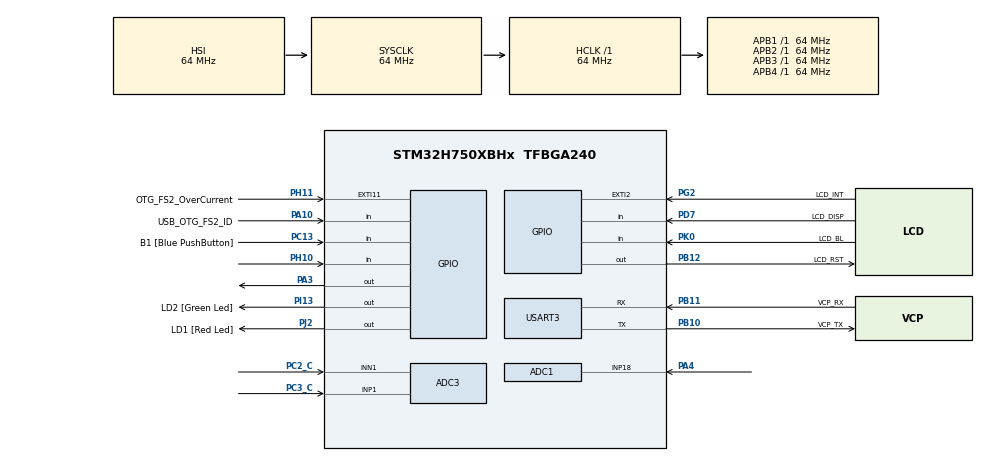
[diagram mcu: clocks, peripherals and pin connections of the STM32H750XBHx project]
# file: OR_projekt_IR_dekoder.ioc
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ADC1.Channel-0\#ChannelRegularConversion=ADC_CHANNEL_18
ADC1.NbrOfConversionFlag=1
ADC1.OffsetNumber-0\#ChannelRegularConversion=ADC_OFFSET_NONE
ADC1.OffsetSignedSaturation-0\#ChannelRegularConversion=DISABLE
ADC1.Rank-0\#ChannelRegularConversion=1
ADC1.SamplingTime-0\#ChannelRegularConversion=ADC_SAMPLETIME_1CYCLE_5
ADC1.master=1
ADC3.Channel-0\#ChannelRegularConversion=ADC_CHANNEL_1
ADC3.NbrOfConversionFlag=1
ADC3.OffsetNumber-0\#ChannelRegularConversion=ADC_OFFSET_NONE
ADC3.Rank-0\#ChannelRegularConversion=1
ADC3.SamplingTime-0\#ChannelRegularConversion=ADC_SAMPLETIME_1CYCLE_5
ADC3.SingleDiff-0\#ChannelRegularConversion=ADC_DIFFERENTIAL_ENDED
Mcu.Family=STM32H7
Mcu.Name=STM32H750XBHx
Mcu.Package=TFBGA240
NVIC.PriorityGroup=NVIC_PRIORITYGROUP_4
PA0_C.Signal=ADCx_INP0
PA1.GPIO_Label=MII_RX_CLK
PA1.Signal=ETH_RX_CLK
PA10.GPIO_Label=USB_OTG_FS2_ID
PA10.Signal=GPIO_Input
PA11.GPIO_Label=USB_OTG_FS2_N
PA11.Signal=USB_OTG_FS_DM
PA12.GPIO_Label=USB_OTG_FS2_P
PA12.Signal=USB_OTG_FS_DP
PA1_C.Signal=ADCx_INP1
PA2.GPIO_Label=MII_MDIO
PA2.Signal=ETH_MDIO
PA3.Signal=GPIO_Output
PA4.Signal=ADCx_INP18
PA6.Signal=S_TIM13_CH1
PA7.GPIO_Label=MII_RX_DV
PA7.Signal=ETH_RX_DV
PA8.Signal=S_TIM1_CH1
PA9.GPIO_Label=VBUS_FS2
PA9.Signal=USB_OTG_FS_VBUS
PB0.GPIO_Label=MII_RX_D2
PB0.Signal=ETH_RXD2
PB1.GPIO_Label=MII_RX_D3
PB1.Signal=ETH_RXD3
PB10.GPIO_Label=VCP_TX
PB10.Mode=Asynchronous
PB10.Signal=USART3_TX
PB11.GPIO_Label=VCP_RX
PB11.Mode=Asynchronous
PB11.Signal=USART3_RX
PB12.GPIO_Label=LCD_RST
PB12.Signal=GPIO_Output
PB13.GPIO_Label=FDCAN2_TX
PB13.Signal=FDCAN2_TX
PB15.Signal=SPI2_MOSI
PB4\ (NJTRST).Signal=SPI2_NSS
PB5.GPIO_Label=FDCAN2_RX
PB5.Signal=FDCAN2_RX
PB6.Signal=QUADSPI_BK1_NCS
PB8.GPIO_Label=SDIO1_D4
PB8.Signal=SDMMC1_D4
PB9.GPIO_Label=SDIO1_D5
PB9.Signal=SDMMC1_D5
PC0.Signal=ADCx_INP10
PC1.GPIO_Label=MII_MDC
PC1.Signal=ETH_MDC
PC10.GPIO_Label=SDIO1_D2
PC10.Signal=SDMMC1_D2
PC11.GPIO_Label=SDIO1_D3
PC11.Signal=SDMMC1_D3
PC12.GPIO_Label=SDIO1_CK
PC12.Signal=SDMMC1_CK
PC13.GPIO_Label=B1 [Blue PushButton]
PC13.Signal=GPIO_Input
PC14-OSC32_IN\ (OSC32_IN).GPIO_Label=OSC32_IN
PC14-OSC32_IN\ (OSC32_IN).Mode=LSE-External-Clock-Source
PC14-OSC32_IN\ (OSC32_IN).Signal=RCC_OSC32_IN
PC15-OSC32_OUT\ (OSC32_OUT).GPIO_Label=OSC32_OUT
PC15-OSC32_OUT\ (OSC32_OUT).Signal=RCC_OSC32_OUT
PC2.GPIO_Label=MII_TXD2
PC2.Signal=ETH_TXD2
PC2_C.Signal=SharedAnalog_PC2
PC3.GPIO_Label=MII_TX_CLK
PC3.Signal=ETH_TX_CLK
PC3_C.Mode=IN1-Differential
PC3_C.Signal=ADC3_INP1
PC4.GPIO_Label=MII_RXD0
PC4.Signal=ETH_RXD0
PC5.GPIO_Label=MII_RXD1
PC5.Signal=ETH_RXD1
PC6.GPIO_Label=SDIO1_D6
PC6.Signal=SDMMC1_D6
PC7.GPIO_Label=SDIO1_D7
PC7.Signal=SDMMC1_D7
PC8.GPIO_Label=SDIO1_D0
PC8.Signal=SDMMC1_D0
PC9.GPIO_Label=SDIO1_D1
PC9.Signal=SDMMC1_D1
PD0.Signal=FMC_D2_DA2
PD1.Signal=FMC_D3_DA3
PD10.Signal=FMC_D15_DA15
PD11.Signal=QUADSPI_BK1_IO0
PD14.Signal=FMC_D0_DA0
PD15.Signal=FMC_D1_DA1
PD2.GPIO_Label=SDIO1_CMD
PD2.Signal=SDMMC1_CMD
PD3.Signal=SPI2_SCK
PD7.GPIO_Label=LCD_DISP
PD7.Signal=GPIO_Input
PD8.Signal=FMC_D13_DA13
PD9.Signal=FMC_D14_DA14
PE0.Signal=FMC_NBL0
PE1.Signal=FMC_NBL1
PE10.Signal=FMC_D7_DA7
PE11.Signal=FMC_D8_DA8
PE12.Signal=FMC_D9_DA9
PE13.Signal=FMC_D10_DA10
PE14.Signal=FMC_D11_DA11
PE15.Signal=FMC_D12_DA12
PE2.GPIO_Label=MII_TXD3
PE2.Signal=ETH_TXD3
PE4.Signal=SAI4_D2
PE5.Signal=SAI4_CK2
PE7.Signal=FMC_D4_DA4
PE8.Signal=FMC_D5_DA5
PE9.Signal=FMC_D6_DA6
PF0.Signal=FMC_A0
PF1.Signal=FMC_A1
PF10.Signal=QUADSPI_CLK
PF11.Signal=FMC_SDNRAS
PF12.Signal=FMC_A6
PF13.Signal=FMC_A7
PF14.Signal=FMC_A8
PF15.Signal=FMC_A9
PF2.Signal=FMC_A2
PF3.Signal=FMC_A3
PF4.Signal=FMC_A4
PF5.Signal=FMC_A5
PF6.Signal=QUADSPI_BK1_IO3
PF7.Signal=QUADSPI_BK1_IO2
PF8.Signal=ADC3_INP7
PF9.Signal=QUADSPI_BK1_IO1
PG0.Signal=FMC_A10
PG1.Signal=FMC_A11
PG10.Signal=SAI2_SD_B
PG11.GPIO_Label=MII_TX_EN
PG11.Signal=ETH_TX_EN
PG12.GPIO_Label=MII_TXD1
PG12.Signal=ETH_TXD1
PG13.GPIO_Label=MII_TXD0
PG13.Signal=ETH_TXD0
PG15.Signal=FMC_SDNCAS
PG2.GPIO_Label=LCD_INT
PG2.Signal=GPXTI2
PG4.Signal=FMC_A14_BA0
PG5.Signal=FMC_A15_BA1
PG8.Signal=FMC_SDCLK
PH0-OSC_IN\ (PH0).GPIO_Label=OSC_IN
PH0-OSC_IN\ (PH0).Mode=HSE-External-Clock-Source
PH0-OSC_IN\ (PH0).Signal=RCC_OSC_IN
PH1-OSC_OUT\ (PH1).GPIO_Label=OSC_OUT
PH1-OSC_OUT\ (PH1).Signal=RCC_OSC_OUT
PH10.GPIO_Mode=GPIO_MODE_INPUT
PH10.Signal=GPIO_Input
PH11.GPIO_Label=OTG_FS2_OverCurrent
PH11.Signal=GPXTI11
PH13.GPIO_Label=FDCAN1_TX
PH13.Signal=FDCAN1_TX
PH14.GPIO_Label=FDCAN1_RX
PH14.Signal=FDCAN1_RX
PH15.Signal=TIM8_CH3N
PH2.GPIO_Label=MII_CRS
PH2.Signal=ETH_CRS
PH3.GPIO_Label=MII_COL
PH3.Signal=ETH_COL
PH5.Signal=FMC_SDNWE
PH6.Signal=FMC_SDNE1
PH7.Signal=FMC_SDCKE1
PH9.Signal=LTDC_R3
PI0.Signal=LTDC_G5
PI1.Signal=LTDC_G6
PI10.GPIO_Label=MII_RX_ER
PI10.Signal=ETH_RX_ER
PI12.Signal=LTDC_HSYNC
PI13.GPIO_Label=LD2 [Green Led]
PI13.Signal=GPIO_Output
PI14.Signal=LTDC_CLK
PI15.Signal=LTDC_R0
PI2.Signal=SPI2_MISO
PI4.Signal=SAI2_MCLK_A
PI5.Signal=SAI2_SCK_A
PI6.Signal=SAI2_SD_A
PI7.Signal=SAI2_FS_A
PI9.Signal=LTDC_VSYNC
PJ0.Signal=LTDC_R1
PJ1.Signal=LTDC_R2
PJ10.Signal=LTDC_G3
PJ11.Signal=LTDC_G4
PJ12.Signal=LTDC_B0
PJ13.Signal=LTDC_B1
PJ14.Signal=LTDC_B2
PJ15.GPIO_Label=LCD_DISP
PJ15.Signal=LTDC_B3
PJ2.GPIO_Label=LD1 [Red Led]
PJ2.Signal=GPIO_Output
PJ3.Signal=LTDC_R4
PJ4.Signal=LTDC_R5
PJ5.Signal=LTDC_R6
PJ6.Signal=LTDC_R7
PJ7.Signal=LTDC_G0
PJ8.Signal=LTDC_G1
PJ9.Signal=LTDC_G2
PK0.GPIO_Label=LCD_BL
PK0.Signal=GPIO_Input
PK2.Signal=LTDC_G7
PK3.Signal=LTDC_B4
PK4.Signal=LTDC_B5
PK5.Signal=LTDC_B6
PK6.Signal=LTDC_B7
PK7.Signal=LTDC_DE
ProjectManager.HeapSize=0x200
ProjectManager.StackSize=0x400
ProjectManager.TargetToolchain=STM32CubeIDE
RCC.ADCFreq_Value=37500000
RCC.APB1Freq_Value=64000000
RCC.APB2Freq_Value=64000000
RCC.APB3Freq_Value=64000000
RCC.APB4Freq_Value=64000000
RCC.CortexFreq_Value=64000000
RCC.DIVM1=22
RCC.DIVM2=2
RCC.DIVN1=169
RCC.DIVN2=12
RCC.DIVP2=4
RCC.DIVQ1=4
RCC.HCLKFreq_Value=64000000
RCC.PLL2FRACN=0
RCC.PLL3FRACN=0
RCC.PLLFRACN=0
RCC.PLLSourceVirtual=RCC_PLLSOURCE_HSE
RCC.SYSCLKFreq_VALUE=64000000
RCC.USBFreq_Value=48011363.63636364
SH.ADCx_INP0.0=ADC1_INP0
SH.ADCx_INP0.1=ADC2_INP0
SH.ADCx_INP1.0=ADC1_INP1
SH.ADCx_INP1.1=ADC2_INP1
SH.ADCx_INP10.0=ADC1_INP10
SH.ADCx_INP10.1=ADC3_INP10
SH.ADCx_INP18.0=ADC1_INP18,IN18-Single-Ended
SH.FMC_A0.0=FMC_A0
SH.FMC_A1.0=FMC_A1
SH.FMC_A10.0=FMC_A10
SH.FMC_A11.0=FMC_A11
SH.FMC_A14_BA0.0=FMC_BA0
SH.FMC_A15_BA1.0=FMC_BA1
SH.FMC_A2.0=FMC_A2
SH.FMC_A3.0=FMC_A3
SH.FMC_A4.0=FMC_A4
SH.FMC_A5.0=FMC_A5
SH.FMC_A6.0=FMC_A6
SH.FMC_A7.0=FMC_A7
SH.FMC_A8.0=FMC_A8
SH.FMC_A9.0=FMC_A9
SH.FMC_D0_DA0.0=FMC_D0
SH.FMC_D10_DA10.0=FMC_D10
SH.FMC_D11_DA11.0=FMC_D11
SH.FMC_D12_DA12.0=FMC_D12
SH.FMC_D13_DA13.0=FMC_D13
SH.FMC_D14_DA14.0=FMC_D14
SH.FMC_D15_DA15.0=FMC_D15
SH.FMC_D1_DA1.0=FMC_D1
SH.FMC_D2_DA2.0=FMC_D2
SH.FMC_D3_DA3.0=FMC_D3
SH.FMC_D4_DA4.0=FMC_D4
SH.FMC_D5_DA5.0=FMC_D5
SH.FMC_D6_DA6.0=FMC_D6
SH.FMC_D7_DA7.0=FMC_D7
SH.FMC_D8_DA8.0=FMC_D8
SH.FMC_D9_DA9.0=FMC_D9
SH.FMC_NBL0.0=FMC_NBL0
SH.FMC_NBL1.0=FMC_NBL1
SH.FMC_SDCLK.0=FMC_SDCLK
SH.FMC_SDNCAS.0=FMC_SDNCAS
SH.FMC_SDNRAS.0=FMC_SDNRAS
SH.FMC_SDNWE.0=FMC_SDNWE
SH.S_TIM13_CH1.0=TIM13_CH1
SH.S_TIM1_CH1.0=TIM1_CH1
SH.SharedAnalog_PC2.0=ADC3_INP0
SH.SharedAnalog_PC2.1=ADC3_INN1,IN1-Differential
TIM2.Period=0xffffffff
TIM2.Prescaler=63
USART3.VirtualMode-Asynchronous=VM_ASYNC
VP_TIM2_VS_ClockSourceINT.Mode=Internal
board=STM32H750B-DK

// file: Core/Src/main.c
/* USER CODE BEGIN Header */
/**
  ******************************************************************************
  * @file           : main.c
  * @brief          : Main program body
  ******************************************************************************
  * @attention
  *
  * Copyright (c) 2024 STMicroelectronics.
  * All rights reserved.
  *
  * This software is licensed under terms that can be found in the LICENSE file
  * in the root directory of this software component.
  * If no LICENSE file comes with this software, it is provided AS-IS.
  *
  ******************************************************************************
  */
/* USER CODE END Header */
#include "main.h"

/* USER CODE BEGIN Includes */
#include <stdio.h>
#include <string.h>
/* USER CODE END Includes */

/* USER CODE BEGIN PD */
#define TSOP_PIN GPIO_PIN_10
#define TSOP_PORT GPIOH
#define BUFSIZE 256
#define N 22

/* USER CODE END PD */

ADC_HandleTypeDef hadc1;
ADC_HandleTypeDef hadc3;

TIM_HandleTypeDef htim2;

UART_HandleTypeDef huart3;

/* USER CODE BEGIN PV */
char SendBuffer[BUFSIZE];
/* USER CODE END PV */

void SystemClock_Config(void);
void PeriphCommonClock_Config(void);
static void MX_GPIO_Init(void);
static void MX_ADC3_Init(void);
static void MX_ADC1_Init(void);
static void MX_TIM2_Init(void);
static void MX_USART3_UART_Init(void);
/* USER CODE BEGIN PFP */

uint32_t decodeIRSignal(void); // to decode IR signal MAIN FUNCTION OF CODE

void sendMessage(uint32_t message);   // to print message
void sendBinSignal(uint32_t message, uint16_t n); // to print binary
void sendDecSignal(uint32_t message);  // to print decimal
void delay_x (uint16_t x); // delay in nano sec

/* USER CODE END PFP */

int main(void)
{

  /* MCU Configuration--------------------------------------------------------*/

  /* Reset of all peripherals, Initializes the Flash interface and the Systick. */
  HAL_Init();

  /* Configure the system clock */
  SystemClock_Config();

/* Configure the peripherals common clocks */
  PeriphCommonClock_Config();

  /* Initialize all configured peripherals */
  MX_GPIO_Init();
  MX_ADC3_Init();
  MX_ADC1_Init();
  MX_TIM2_Init();
  MX_USART3_UART_Init();
  /* USER CODE BEGIN 2 */
  HAL_TIM_Base_Start(&htim2);
  /* USER CODE END 2 */

  /* Infinite loop */
  /* USER CODE BEGIN WHILE */
  while (1)
  {

	  if (HAL_GPIO_ReadPin(TSOP_PORT, TSOP_PIN) == GPIO_PIN_RESET)
		  {
			uint32_t message = decodeIRSignal();
			sendMessage(message);
		  }
    /* USER CODE END WHILE */
  }
}

void SystemClock_Config(void)
{
  RCC_OscInitTypeDef RCC_OscInitStruct = {0};
  RCC_ClkInitTypeDef RCC_ClkInitStruct = {0};

  /** Supply configuration update enable
  */
  HAL_PWREx_ConfigSupply(PWR_LDO_SUPPLY);

  /** Configure the main internal regulator output voltage
  */
  __HAL_PWR_VOLTAGESCALING_CONFIG(PWR_REGULATOR_VOLTAGE_SCALE3);

  while(!__HAL_PWR_GET_FLAG(PWR_FLAG_VOSRDY)) {}

  /** Macro to configure the PLL clock source
  */
  __HAL_RCC_PLL_PLLSOURCE_CONFIG(RCC_PLLSOURCE_HSE);

  /** Initializes the RCC Oscillators according to the specified parameters
  * in the RCC_OscInitTypeDef structure.
  */
  RCC_OscInitStruct.OscillatorType = RCC_OSCILLATORTYPE_HSI|RCC_OSCILLATORTYPE_HSE;
  RCC_OscInitStruct.HSEState = RCC_HSE_BYPASS;
  RCC_OscInitStruct.HSIState = RCC_HSI_DIV1;
  RCC_OscInitStruct.HSICalibrationValue = RCC_HSICALIBRATION_DEFAULT;
  RCC_OscInitStruct.PLL.PLLState = RCC_PLL_NONE;
  if (HAL_RCC_OscConfig(&RCC_OscInitStruct) != HAL_OK)
  {
    Error_Handler();
  }

  /** Initializes the CPU, AHB and APB buses clocks
  */
  RCC_ClkInitStruct.ClockType = RCC_CLOCKTYPE_HCLK|RCC_CLOCKTYPE_SYSCLK
                              |RCC_CLOCKTYPE_PCLK1|RCC_CLOCKTYPE_PCLK2
                              |RCC_CLOCKTYPE_D3PCLK1|RCC_CLOCKTYPE_D1PCLK1;
  RCC_ClkInitStruct.SYSCLKSource = RCC_SYSCLKSOURCE_HSI;
  RCC_ClkInitStruct.SYSCLKDivider = RCC_SYSCLK_DIV1;
  RCC_ClkInitStruct.AHBCLKDivider = RCC_HCLK_DIV1;
  RCC_ClkInitStruct.APB3CLKDivider = RCC_APB3_DIV1;
  RCC_ClkInitStruct.APB1CLKDivider = RCC_APB1_DIV1;
  RCC_ClkInitStruct.APB2CLKDivider = RCC_APB2_DIV1;
  RCC_ClkInitStruct.APB4CLKDivider = RCC_APB4_DIV1;

  if (HAL_RCC_ClockConfig(&RCC_ClkInitStruct, FLASH_LATENCY_1) != HAL_OK)
  {
    Error_Handler();
  }
}

void PeriphCommonClock_Config(void)
{
  RCC_PeriphCLKInitTypeDef PeriphClkInitStruct = {0};

  /** Initializes the peripherals clock
  */
  PeriphClkInitStruct.PeriphClockSelection = RCC_PERIPHCLK_ADC;
  PeriphClkInitStruct.PLL2.PLL2M = 2;
  PeriphClkInitStruct.PLL2.PLL2N = 12;
  PeriphClkInitStruct.PLL2.PLL2P = 4;
  PeriphClkInitStruct.PLL2.PLL2Q = 2;
  PeriphClkInitStruct.PLL2.PLL2R = 2;
  PeriphClkInitStruct.PLL2.PLL2RGE = RCC_PLL2VCIRANGE_3;
  PeriphClkInitStruct.PLL2.PLL2VCOSEL = RCC_PLL2VCOMEDIUM;
  PeriphClkInitStruct.PLL2.PLL2FRACN = 0;
  PeriphClkInitStruct.AdcClockSelection = RCC_ADCCLKSOURCE_PLL2;
  if (HAL_RCCEx_PeriphCLKConfig(&PeriphClkInitStruct) != HAL_OK)
  {
    Error_Handler();
  }
}

static void MX_ADC1_Init(void)
{

  ADC_MultiModeTypeDef multimode = {0};
  ADC_ChannelConfTypeDef sConfig = {0};

  /** Common config
  */
  hadc1.Instance = ADC1;
  hadc1.Init.ClockPrescaler = ADC_CLOCK_ASYNC_DIV1;
  hadc1.Init.Resolution = ADC_RESOLUTION_16B;
  hadc1.Init.ScanConvMode = ADC_SCAN_DISABLE;
  hadc1.Init.EOCSelection = ADC_EOC_SINGLE_CONV;
  hadc1.Init.LowPowerAutoWait = DISABLE;
  hadc1.Init.ContinuousConvMode = DISABLE;
  hadc1.Init.NbrOfConversion = 1;
  hadc1.Init.DiscontinuousConvMode = DISABLE;
  hadc1.Init.ExternalTrigConv = ADC_SOFTWARE_START;
  hadc1.Init.ExternalTrigConvEdge = ADC_EXTERNALTRIGCONVEDGE_NONE;
  hadc1.Init.ConversionDataManagement = ADC_CONVERSIONDATA_DR;
  hadc1.Init.Overrun = ADC_OVR_DATA_PRESERVED;
  hadc1.Init.LeftBitShift = ADC_LEFTBITSHIFT_NONE;
  hadc1.Init.OversamplingMode = DISABLE;
  if (HAL_ADC_Init(&hadc1) != HAL_OK)
  {
    Error_Handler();
  }

  /** Configure the ADC multi-mode
  */
  multimode.Mode = ADC_MODE_INDEPENDENT;
  if (HAL_ADCEx_MultiModeConfigChannel(&hadc1, &multimode) != HAL_OK)
  {
    Error_Handler();
  }

  /** Configure Regular Channel
  */
  sConfig.Channel = ADC_CHANNEL_18;
  sConfig.Rank = ADC_REGULAR_RANK_1;
  sConfig.SamplingTime = ADC_SAMPLETIME_1CYCLE_5;
  sConfig.SingleDiff = ADC_SINGLE_ENDED;
  sConfig.OffsetNumber = ADC_OFFSET_NONE;
  sConfig.Offset = 0;
  sConfig.OffsetSignedSaturation = DISABLE;
  if (HAL_ADC_ConfigChannel(&hadc1, &sConfig) != HAL_OK)
  {
    Error_Handler();
  }

}

static void MX_ADC3_Init(void)
{

  ADC_ChannelConfTypeDef sConfig = {0};

  /** Common config
  */
  hadc3.Instance = ADC3;
  hadc3.Init.Resolution = ADC_RESOLUTION_16B;
  hadc3.Init.ScanConvMode = ADC_SCAN_DISABLE;
  hadc3.Init.EOCSelection = ADC_EOC_SINGLE_CONV;
  hadc3.Init.LowPowerAutoWait = DISABLE;
  hadc3.Init.ContinuousConvMode = DISABLE;
  hadc3.Init.NbrOfConversion = 1;
  hadc3.Init.DiscontinuousConvMode = DISABLE;
  hadc3.Init.ExternalTrigConv = ADC_SOFTWARE_START;
  hadc3.Init.ExternalTrigConvEdge = ADC_EXTERNALTRIGCONVEDGE_NONE;
  hadc3.Init.ConversionDataManagement = ADC_CONVERSIONDATA_DR;
  hadc3.Init.Overrun = ADC_OVR_DATA_PRESERVED;
  hadc3.Init.LeftBitShift = ADC_LEFTBITSHIFT_NONE;
  hadc3.Init.OversamplingMode = DISABLE;
  if (HAL_ADC_Init(&hadc3) != HAL_OK)
  {
    Error_Handler();
  }

  /** Configure Regular Channel
  */
  sConfig.Channel = ADC_CHANNEL_1;
  sConfig.Rank = ADC_REGULAR_RANK_1;
  sConfig.SamplingTime = ADC_SAMPLETIME_1CYCLE_5;
  sConfig.SingleDiff = ADC_DIFFERENTIAL_ENDED;
  sConfig.OffsetNumber = ADC_OFFSET_NONE;
  sConfig.Offset = 0;
  sConfig.OffsetSignedSaturation = DISABLE;
  if (HAL_ADC_ConfigChannel(&hadc3, &sConfig) != HAL_OK)
  {
    Error_Handler();
  }

}

static void MX_TIM2_Init(void)
{

  TIM_ClockConfigTypeDef sClockSourceConfig = {0};
  TIM_MasterConfigTypeDef sMasterConfig = {0};

  htim2.Instance = TIM2;
  htim2.Init.Prescaler = 63;
  htim2.Init.CounterMode = TIM_COUNTERMODE_UP;
  htim2.Init.Period = 0xffffffff;
  htim2.Init.ClockDivision = TIM_CLOCKDIVISION_DIV1;
  htim2.Init.AutoReloadPreload = TIM_AUTORELOAD_PRELOAD_DISABLE;
  if (HAL_TIM_Base_Init(&htim2) != HAL_OK)
  {
    Error_Handler();
  }
  sClockSourceConfig.ClockSource = TIM_CLOCKSOURCE_INTERNAL;
  if (HAL_TIM_ConfigClockSource(&htim2, &sClockSourceConfig) != HAL_OK)
  {
    Error_Handler();
  }
  sMasterConfig.MasterOutputTrigger = TIM_TRGO_RESET;
  sMasterConfig.MasterSlaveMode = TIM_MASTERSLAVEMODE_DISABLE;
  if (HAL_TIMEx_MasterConfigSynchronization(&htim2, &sMasterConfig) != HAL_OK)
  {
    Error_Handler();
  }

}

static void MX_USART3_UART_Init(void)
{

  huart3.Instance = USART3;
  huart3.Init.BaudRate = 115200;
  huart3.Init.WordLength = UART_WORDLENGTH_8B;
  huart3.Init.StopBits = UART_STOPBITS_1;
  huart3.Init.Parity = UART_PARITY_NONE;
  huart3.Init.Mode = UART_MODE_TX_RX;
  huart3.Init.HwFlowCtl = UART_HWCONTROL_NONE;
  huart3.Init.OverSampling = UART_OVERSAMPLING_16;
  huart3.Init.OneBitSampling = UART_ONE_BIT_SAMPLE_DISABLE;
  huart3.Init.ClockPrescaler = UART_PRESCALER_DIV1;
  huart3.AdvancedInit.AdvFeatureInit = UART_ADVFEATURE_NO_INIT;
  if (HAL_UART_Init(&huart3) != HAL_OK)
  {
    Error_Handler();
  }
  if (HAL_UARTEx_SetTxFifoThreshold(&huart3, UART_TXFIFO_THRESHOLD_1_8) != HAL_OK)
  {
    Error_Handler();
  }
  if (HAL_UARTEx_SetRxFifoThreshold(&huart3, UART_RXFIFO_THRESHOLD_1_8) != HAL_OK)
  {
    Error_Handler();
  }
  if (HAL_UARTEx_DisableFifoMode(&huart3) != HAL_OK)
  {
    Error_Handler();
  }

}

static void MX_GPIO_Init(void)
{
  GPIO_InitTypeDef GPIO_InitStruct = {0};

  /* GPIO Ports Clock Enable */
  __HAL_RCC_GPIOI_CLK_ENABLE();
  __HAL_RCC_GPIOB_CLK_ENABLE();
  __HAL_RCC_GPIOK_CLK_ENABLE();
  __HAL_RCC_GPIOG_CLK_ENABLE();
  __HAL_RCC_GPIOC_CLK_ENABLE();
  __HAL_RCC_GPIOE_CLK_ENABLE();
  __HAL_RCC_GPIOJ_CLK_ENABLE();
  __HAL_RCC_GPIOD_CLK_ENABLE();
  __HAL_RCC_GPIOH_CLK_ENABLE();
  __HAL_RCC_GPIOA_CLK_ENABLE();
  __HAL_RCC_GPIOF_CLK_ENABLE();

  /*Configure GPIO pin Output Level */
  HAL_GPIO_WritePin(LD2_GPIO_Port, LD2_Pin, GPIO_PIN_RESET);

  /*Configure GPIO pin Output Level */
  HAL_GPIO_WritePin(LD1_GPIO_Port, LD1_Pin, GPIO_PIN_RESET);

  /*Configure GPIO pin Output Level */
  HAL_GPIO_WritePin(LCD_RST_GPIO_Port, LCD_RST_Pin, GPIO_PIN_RESET);

  /*Configure GPIO pin Output Level */
  HAL_GPIO_WritePin(GPIOA, GPIO_PIN_3, GPIO_PIN_RESET);

  /*Configure GPIO pins : PI6 PI5 PI4 PI7 */
  GPIO_InitStruct.Pin = GPIO_PIN_6|GPIO_PIN_5|GPIO_PIN_4|GPIO_PIN_7;
  GPIO_InitStruct.Mode = GPIO_MODE_AF_PP;
  GPIO_InitStruct.Pull = GPIO_NOPULL;
  GPIO_InitStruct.Speed = GPIO_SPEED_FREQ_LOW;
  GPIO_InitStruct.Alternate = GPIO_AF10_SAI2;
  HAL_GPIO_Init(GPIOI, &GPIO_InitStruct);

  /*Configure GPIO pins : FDCAN2_RX_Pin FDCAN2_TX_Pin */
  GPIO_InitStruct.Pin = FDCAN2_RX_Pin|FDCAN2_TX_Pin;
  GPIO_InitStruct.Mode = GPIO_MODE_AF_PP;
  GPIO_InitStruct.Pull = GPIO_NOPULL;
  GPIO_InitStruct.Speed = GPIO_SPEED_FREQ_LOW;
  GPIO_InitStruct.Alternate = GPIO_AF9_FDCAN2;
  HAL_GPIO_Init(GPIOB, &GPIO_InitStruct);

  /*Configure GPIO pins : PK5 PK4 PK6 PK3
                           PK7 PK2 */
  GPIO_InitStruct.Pin = GPIO_PIN_5|GPIO_PIN_4|GPIO_PIN_6|GPIO_PIN_3
                          |GPIO_PIN_7|GPIO_PIN_2;
  GPIO_InitStruct.Mode = GPIO_MODE_AF_PP;
  GPIO_InitStruct.Pull = GPIO_NOPULL;
  GPIO_InitStruct.Speed = GPIO_SPEED_FREQ_LOW;
  GPIO_InitStruct.Alternate = GPIO_AF14_LTDC;
  HAL_GPIO_Init(GPIOK, &GPIO_InitStruct);

  /*Configure GPIO pin : PG10 */
  GPIO_InitStruct.Pin = GPIO_PIN_10;
  GPIO_InitStruct.Mode = GPIO_MODE_AF_PP;
  GPIO_InitStruct.Pull = GPIO_NOPULL;
  GPIO_InitStruct.Speed = GPIO_SPEED_FREQ_LOW;
  GPIO_InitStruct.Alternate = GPIO_AF10_SAI2;
  HAL_GPIO_Init(GPIOG, &GPIO_InitStruct);

  /*Configure GPIO pins : SDIO1_D2_Pin SDIO1_D3_Pin SDIO1_CK_Pin SDIO1_D0_Pin
                           SDIO1_D1_Pin SDIO1_D7_Pin SDIO1_D6_Pin */
  GPIO_InitStruct.Pin = SDIO1_D2_Pin|SDIO1_D3_Pin|SDIO1_CK_Pin|SDIO1_D0_Pin
                          |SDIO1_D1_Pin|SDIO1_D7_Pin|SDIO1_D6_Pin;
  GPIO_InitStruct.Mode = GPIO_MODE_AF_PP;
  GPIO_InitStruct.Pull = GPIO_NOPULL;
  GPIO_InitStruct.Speed = GPIO_SPEED_FREQ_VERY_HIGH;
  GPIO_InitStruct.Alternate = GPIO_AF12_SDIO1;
  HAL_GPIO_Init(GPIOC, &GPIO_InitStruct);

  /*Configure GPIO pins : PI1 PI0 PI9 PI12
                           PI14 PI15 */
  GPIO_InitStruct.Pin = GPIO_PIN_1|GPIO_PIN_0|GPIO_PIN_9|GPIO_PIN_12
                          |GPIO_PIN_14|GPIO_PIN_15;
  GPIO_InitStruct.Mode = GPIO_MODE_AF_PP;
  GPIO_InitStruct.Pull = GPIO_NOPULL;
  GPIO_InitStruct.Speed = GPIO_SPEED_FREQ_LOW;
  GPIO_InitStruct.Alternate = GPIO_AF14_LTDC;
  HAL_GPIO_Init(GPIOI, &GPIO_InitStruct);

  /*Configure GPIO pins : PE1 PE0 PE10 PE9
                           PE11 PE12 PE15 PE8
                           PE13 PE7 PE14 */
  GPIO_InitStruct.Pin = GPIO_PIN_1|GPIO_PIN_0|GPIO_PIN_10|GPIO_PIN_9
                          |GPIO_PIN_11|GPIO_PIN_12|GPIO_PIN_15|GPIO_PIN_8
                          |GPIO_PIN_13|GPIO_PIN_7|GPIO_PIN_14;
  GPIO_InitStruct.Mode = GPIO_MODE_AF_PP;
  GPIO_InitStruct.Pull = GPIO_NOPULL;
  GPIO_InitStruct.Speed = GPIO_SPEED_FREQ_VERY_HIGH;
  GPIO_InitStruct.Alternate = GPIO_AF12_FMC;
  HAL_GPIO_Init(GPIOE, &GPIO_InitStruct);

  /*Configure GPIO pin : PB6 */
  GPIO_InitStruct.Pin = GPIO_PIN_6;
  GPIO_InitStruct.Mode = GPIO_MODE_AF_PP;
  GPIO_InitStruct.Pull = GPIO_NOPULL;
  GPIO_InitStruct.Speed = GPIO_SPEED_FREQ_LOW;
  GPIO_InitStruct.Alternate = GPIO_AF10_QUADSPI;
  HAL_GPIO_Init(GPIOB, &GPIO_InitStruct);

  /*Configure GPIO pin : PB4 */
  GPIO_InitStruct.Pin = GPIO_PIN_4;
  GPIO_InitStruct.Mode = GPIO_MODE_AF_PP;
  GPIO_InitStruct.Pull = GPIO_NOPULL;
  GPIO_InitStruct.Speed = GPIO_SPEED_FREQ_LOW;
  GPIO_InitStruct.Alternate = GPIO_AF7_SPI2;
  HAL_GPIO_Init(GPIOB, &GPIO_InitStruct);

  /*Configure GPIO pins : MII_TX_EN_Pin MII_TXD1_Pin MII_TXD0_Pin */
  GPIO_InitStruct.Pin = MII_TX_EN_Pin|MII_TXD1_Pin|MII_TXD0_Pin;
  GPIO_InitStruct.Mode = GPIO_MODE_AF_PP;
  GPIO_InitStruct.Pull = GPIO_NOPULL;
  GPIO_InitStruct.Speed = GPIO_SPEED_FREQ_LOW;
  GPIO_InitStruct.Alternate = GPIO_AF11_ETH;
  HAL_GPIO_Init(GPIOG, &GPIO_InitStruct);

  /*Configure GPIO pins : LCD_DISP_Pin PJ14 PJ12 PJ13
                           PJ11 PJ10 PJ9 PJ0
                           PJ8 PJ7 PJ6 PJ1
                           PJ5 PJ3 PJ4 */
  GPIO_InitStruct.Pin = LCD_DISP_Pin|GPIO_PIN_14|GPIO_PIN_12|GPIO_PIN_13
                          |GPIO_PIN_11|GPIO_PIN_10|GPIO_PIN_9|GPIO_PIN_0
                          |GPIO_PIN_8|GPIO_PIN_7|GPIO_PIN_6|GPIO_PIN_1
                          |GPIO_PIN_5|GPIO_PIN_3|GPIO_PIN_4;
  GPIO_InitStruct.Mode = GPIO_MODE_AF_PP;
  GPIO_InitStruct.Pull = GPIO_NOPULL;
  GPIO_InitStruct.Speed = GPIO_SPEED_FREQ_LOW;
  GPIO_InitStruct.Alternate = GPIO_AF14_LTDC;
  HAL_GPIO_Init(GPIOJ, &GPIO_InitStruct);

  /*Configure GPIO pin : PD3 */
  GPIO_InitStruct.Pin = GPIO_PIN_3;
  GPIO_InitStruct.Mode = GPIO_MODE_AF_PP;
  GPIO_InitStruct.Pull = GPIO_NOPULL;
  GPIO_InitStruct.Speed = GPIO_SPEED_FREQ_LOW;
  GPIO_InitStruct.Alternate = GPIO_AF5_SPI2;
  HAL_GPIO_Init(GPIOD, &GPIO_InitStruct);

  /*Configure GPIO pin : PI2 */
  GPIO_InitStruct.Pin = GPIO_PIN_2;
  GPIO_InitStruct.Mode = GPIO_MODE_AF_PP;
  GPIO_InitStruct.Pull = GPIO_NOPULL;
  GPIO_InitStruct.Speed = GPIO_SPEED_FREQ_LOW;
  GPIO_InitStruct.Alternate = GPIO_AF5_SPI2;
  HAL_GPIO_Init(GPIOI, &GPIO_InitStruct);

  /*Configure GPIO pin : PH15 */
  GPIO_InitStruct.Pin = GPIO_PIN_15;
  GPIO_InitStruct.Mode = GPIO_MODE_AF_PP;
  GPIO_InitStruct.Pull = GPIO_NOPULL;
  GPIO_InitStruct.Speed = GPIO_SPEED_FREQ_LOW;
  GPIO_InitStruct.Alternate = GPIO_AF3_TIM8;
  HAL_GPIO_Init(GPIOH, &GPIO_InitStruct);

  /*Configure GPIO pins : FDCAN1_RX_Pin FDCAN1_TX_Pin */
  GPIO_InitStruct.Pin = FDCAN1_RX_Pin|FDCAN1_TX_Pin;
  GPIO_InitStruct.Mode = GPIO_MODE_AF_PP;
  GPIO_InitStruct.Pull = GPIO_NOPULL;
  GPIO_InitStruct.Speed = GPIO_SPEED_FREQ_LOW;
  GPIO_InitStruct.Alternate = GPIO_AF9_FDCAN1;
  HAL_GPIO_Init(GPIOH, &GPIO_InitStruct);

  /*Configure GPIO pin : MII_TXD3_Pin */
  GPIO_InitStruct.Pin = MII_TXD3_Pin;
  GPIO_InitStruct.Mode = GPIO_MODE_AF_PP;
  GPIO_InitStruct.Pull = GPIO_NOPULL;
  GPIO_InitStruct.Speed = GPIO_SPEED_FREQ_LOW;
  GPIO_InitStruct.Alternate = GPIO_AF11_ETH;
  HAL_GPIO_Init(MII_TXD3_GPIO_Port, &GPIO_InitStruct);

  /*Configure GPIO pin : LCD_DISPD7_Pin */
  GPIO_InitStruct.Pin = LCD_DISPD7_Pin;
  GPIO_InitStruct.Mode = GPIO_MODE_INPUT;
  GPIO_InitStruct.Pull = GPIO_NOPULL;
  HAL_GPIO_Init(LCD_DISPD7_GPIO_Port, &GPIO_InitStruct);

  /*Configure GPIO pins : PE5 PE4 */
  GPIO_InitStruct.Pin = GPIO_PIN_5|GPIO_PIN_4;
  GPIO_InitStruct.Mode = GPIO_MODE_AF_PP;
  GPIO_InitStruct.Pull = GPIO_NOPULL;
  GPIO_InitStruct.Speed = GPIO_SPEED_FREQ_LOW;
  GPIO_InitStruct.Alternate = GPIO_AF10_SAI4;
  HAL_GPIO_Init(GPIOE, &GPIO_InitStruct);

  /*Configure GPIO pins : SDIO1_D5_Pin SDIO1_D4_Pin */
  GPIO_InitStruct.Pin = SDIO1_D5_Pin|SDIO1_D4_Pin;
  GPIO_InitStruct.Mode = GPIO_MODE_AF_PP;
  GPIO_InitStruct.Pull = GPIO_NOPULL;
  GPIO_InitStruct.Speed = GPIO_SPEED_FREQ_VERY_HIGH;
  GPIO_InitStruct.Alternate = GPIO_AF12_SDIO1;
  HAL_GPIO_Init(GPIOB, &GPIO_InitStruct);

  /*Configure GPIO pins : PG15 PG8 PG5 PG4
                           PG0 PG1 */
  GPIO_InitStruct.Pin = GPIO_PIN_15|GPIO_PIN_8|GPIO_PIN_5|GPIO_PIN_4
                          |GPIO_PIN_0|GPIO_PIN_1;
  GPIO_InitStruct.Mode = GPIO_MODE_AF_PP;
  GPIO_InitStruct.Pull = GPIO_NOPULL;
  GPIO_InitStruct.Speed = GPIO_SPEED_FREQ_VERY_HIGH;
  GPIO_InitStruct.Alternate = GPIO_AF12_FMC;
  HAL_GPIO_Init(GPIOG, &GPIO_InitStruct);

  /*Configure GPIO pin : SDIO1_CMD_Pin */
  GPIO_InitStruct.Pin = SDIO1_CMD_Pin;
  GPIO_InitStruct.Mode = GPIO_MODE_AF_PP;
  GPIO_InitStruct.Pull = GPIO_NOPULL;
  GPIO_InitStruct.Speed = GPIO_SPEED_FREQ_VERY_HIGH;
  GPIO_InitStruct.Alternate = GPIO_AF12_SDIO1;
  HAL_GPIO_Init(SDIO1_CMD_GPIO_Port, &GPIO_InitStruct);

  /*Configure GPIO pins : PD0 PD1 PD15 PD14
                           PD10 PD9 PD8 */
  GPIO_InitStruct.Pin = GPIO_PIN_0|GPIO_PIN_1|GPIO_PIN_15|GPIO_PIN_14
                          |GPIO_PIN_10|GPIO_PIN_9|GPIO_PIN_8;
  GPIO_InitStruct.Mode = GPIO_MODE_AF_PP;
  GPIO_InitStruct.Pull = GPIO_NOPULL;
  GPIO_InitStruct.Speed = GPIO_SPEED_FREQ_VERY_HIGH;
  GPIO_InitStruct.Alternate = GPIO_AF12_FMC;
  HAL_GPIO_Init(GPIOD, &GPIO_InitStruct);

  /*Configure GPIO pin : USB_OTG_FS2_ID_Pin */
  GPIO_InitStruct.Pin = USB_OTG_FS2_ID_Pin;
  GPIO_InitStruct.Mode = GPIO_MODE_INPUT;
  GPIO_InitStruct.Pull = GPIO_NOPULL;
  HAL_GPIO_Init(USB_OTG_FS2_ID_GPIO_Port, &GPIO_InitStruct);

  /*Configure GPIO pin : B1_Pin */
  GPIO_InitStruct.Pin = B1_Pin;
  GPIO_InitStruct.Mode = GPIO_MODE_INPUT;
  GPIO_InitStruct.Pull = GPIO_NOPULL;
  HAL_GPIO_Init(B1_GPIO_Port, &GPIO_InitStruct);

  /*Configure GPIO pin : PA8 */
  GPIO_InitStruct.Pin = GPIO_PIN_8;
  GPIO_InitStruct.Mode = GPIO_MODE_AF_PP;
  GPIO_InitStruct.Pull = GPIO_NOPULL;
  GPIO_InitStruct.Speed = GPIO_SPEED_FREQ_LOW;
  GPIO_InitStruct.Alternate = GPIO_AF1_TIM1;
  HAL_GPIO_Init(GPIOA, &GPIO_InitStruct);

  /*Configure GPIO pins : USB_OTG_FS2_P_Pin USB_OTG_FS2_N_Pin */
  GPIO_InitStruct.Pin = USB_OTG_FS2_P_Pin|USB_OTG_FS2_N_Pin;
  GPIO_InitStruct.Mode = GPIO_MODE_AF_PP;
  GPIO_InitStruct.Pull = GPIO_NOPULL;
  GPIO_InitStruct.Speed = GPIO_SPEED_FREQ_LOW;
  GPIO_InitStruct.Alternate = GPIO_AF10_OTG1_FS;
  HAL_GPIO_Init(GPIOA, &GPIO_InitStruct);

  /*Configure GPIO pin : MII_RX_ER_Pin */
  GPIO_InitStruct.Pin = MII_RX_ER_Pin;
  GPIO_InitStruct.Mode = GPIO_MODE_AF_PP;
  GPIO_InitStruct.Pull = GPIO_NOPULL;
  GPIO_InitStruct.Speed = GPIO_SPEED_FREQ_LOW;
  GPIO_InitStruct.Alternate = GPIO_AF11_ETH;
  HAL_GPIO_Init(MII_RX_ER_GPIO_Port, &GPIO_InitStruct);

  /*Configure GPIO pins : PF2 PF1 PF0 PF3
                           PF5 PF4 PF13 PF14
                           PF12 PF15 PF11 */
  GPIO_InitStruct.Pin = GPIO_PIN_2|GPIO_PIN_1|GPIO_PIN_0|GPIO_PIN_3
                          |GPIO_PIN_5|GPIO_PIN_4|GPIO_PIN_13|GPIO_PIN_14
                          |GPIO_PIN_12|GPIO_PIN_15|GPIO_PIN_11;
  GPIO_InitStruct.Mode = GPIO_MODE_AF_PP;
  GPIO_InitStruct.Pull = GPIO_NOPULL;
  GPIO_InitStruct.Speed = GPIO_SPEED_FREQ_VERY_HIGH;
  GPIO_InitStruct.Alternate = GPIO_AF12_FMC;
  HAL_GPIO_Init(GPIOF, &GPIO_InitStruct);

  /*Configure GPIO pin : LD2_Pin */
  GPIO_InitStruct.Pin = LD2_Pin;
  GPIO_InitStruct.Mode = GPIO_MODE_OUTPUT_PP;
  GPIO_InitStruct.Pull = GPIO_NOPULL;
  GPIO_InitStruct.Speed = GPIO_SPEED_FREQ_LOW;
  HAL_GPIO_Init(LD2_GPIO_Port, &GPIO_InitStruct);

  /*Configure GPIO pin : LCD_INT_Pin */
  GPIO_InitStruct.Pin = LCD_INT_Pin;
  GPIO_InitStruct.Mode = GPIO_MODE_IT_RISING;
  GPIO_InitStruct.Pull = GPIO_NOPULL;
  HAL_GPIO_Init(LCD_INT_GPIO_Port, &GPIO_InitStruct);

  /*Configure GPIO pin : LCD_BL_Pin */
  GPIO_InitStruct.Pin = LCD_BL_Pin;
  GPIO_InitStruct.Mode = GPIO_MODE_INPUT;
  GPIO_InitStruct.Pull = GPIO_NOPULL;
  HAL_GPIO_Init(LCD_BL_GPIO_Port, &GPIO_InitStruct);

  /*Configure GPIO pins : PF6 PF7 PF10 */
  GPIO_InitStruct.Pin = GPIO_PIN_6|GPIO_PIN_7|GPIO_PIN_10;
  GPIO_InitStruct.Mode = GPIO_MODE_AF_PP;
  GPIO_InitStruct.Pull = GPIO_NOPULL;
  GPIO_InitStruct.Speed = GPIO_SPEED_FREQ_LOW;
  GPIO_InitStruct.Alternate = GPIO_AF9_QUADSPI;
  HAL_GPIO_Init(GPIOF, &GPIO_InitStruct);

  /*Configure GPIO pin : PF9 */
  GPIO_InitStruct.Pin = GPIO_PIN_9;
  GPIO_InitStruct.Mode = GPIO_MODE_AF_PP;
  GPIO_InitStruct.Pull = GPIO_NOPULL;
  GPIO_InitStruct.Speed = GPIO_SPEED_FREQ_LOW;
  GPIO_InitStruct.Alternate = GPIO_AF10_QUADSPI;
  HAL_GPIO_Init(GPIOF, &GPIO_InitStruct);

  /*Configure GPIO pins : MII_MDC_Pin MII_TXD2_Pin MII_TX_CLK_Pin MII_RXD0_Pin
                           MII_RXD1_Pin */
  GPIO_InitStruct.Pin = MII_MDC_Pin|MII_TXD2_Pin|MII_TX_CLK_Pin|MII_RXD0_Pin
                          |MII_RXD1_Pin;
  GPIO_InitStruct.Mode = GPIO_MODE_AF_PP;
  GPIO_InitStruct.Pull = GPIO_NOPULL;
  GPIO_InitStruct.Speed = GPIO_SPEED_FREQ_LOW;
  GPIO_InitStruct.Alternate = GPIO_AF11_ETH;
  HAL_GPIO_Init(GPIOC, &GPIO_InitStruct);

  /*Configure GPIO pins : MII_CRS_Pin MII_COL_Pin */
  GPIO_InitStruct.Pin = MII_CRS_Pin|MII_COL_Pin;
  GPIO_InitStruct.Mode = GPIO_MODE_AF_PP;
  GPIO_InitStruct.Pull = GPIO_NOPULL;
  GPIO_InitStruct.Speed = GPIO_SPEED_FREQ_LOW;
  GPIO_InitStruct.Alternate = GPIO_AF11_ETH;
  HAL_GPIO_Init(GPIOH, &GPIO_InitStruct);

  /*Configure GPIO pins : MII_MDIO_Pin MII_RX_CLK_Pin MII_RX_DV_Pin */
  GPIO_InitStruct.Pin = MII_MDIO_Pin|MII_RX_CLK_Pin|MII_RX_DV_Pin;
  GPIO_InitStruct.Mode = GPIO_MODE_AF_PP;
  GPIO_InitStruct.Pull = GPIO_NOPULL;
  GPIO_InitStruct.Speed = GPIO_SPEED_FREQ_LOW;
  GPIO_InitStruct.Alternate = GPIO_AF11_ETH;
  HAL_GPIO_Init(GPIOA, &GPIO_InitStruct);

  /*Configure GPIO pins : PH5 PH6 PH7 */
  GPIO_InitStruct.Pin = GPIO_PIN_5|GPIO_PIN_6|GPIO_PIN_7;
  GPIO_InitStruct.Mode = GPIO_MODE_AF_PP;
  GPIO_InitStruct.Pull = GPIO_NOPULL;
  GPIO_InitStruct.Speed = GPIO_SPEED_FREQ_VERY_HIGH;
  GPIO_InitStruct.Alternate = GPIO_AF12_FMC;
  HAL_GPIO_Init(GPIOH, &GPIO_InitStruct);

  /*Configure GPIO pin : PH10 */
  GPIO_InitStruct.Pin = GPIO_PIN_10;
  GPIO_InitStruct.Mode = GPIO_MODE_INPUT;
  GPIO_InitStruct.Pull = GPIO_NOPULL;
  HAL_GPIO_Init(GPIOH, &GPIO_InitStruct);

  /*Configure GPIO pin : OTG_FS2_OverCurrent_Pin */
  GPIO_InitStruct.Pin = OTG_FS2_OverCurrent_Pin;
  GPIO_InitStruct.Mode = GPIO_MODE_IT_RISING;
  GPIO_InitStruct.Pull = GPIO_NOPULL;
  HAL_GPIO_Init(OTG_FS2_OverCurrent_GPIO_Port, &GPIO_InitStruct);

  /*Configure GPIO pin : PA6 */
  GPIO_InitStruct.Pin = GPIO_PIN_6;
  GPIO_InitStruct.Mode = GPIO_MODE_AF_PP;
  GPIO_InitStruct.Pull = GPIO_NOPULL;
  GPIO_InitStruct.Speed = GPIO_SPEED_FREQ_LOW;
  GPIO_InitStruct.Alternate = GPIO_AF9_TIM13;
  HAL_GPIO_Init(GPIOA, &GPIO_InitStruct);

  /*Configure GPIO pin : PH9 */
  GPIO_InitStruct.Pin = GPIO_PIN_9;
  GPIO_InitStruct.Mode = GPIO_MODE_AF_PP;
  GPIO_InitStruct.Pull = GPIO_NOPULL;
  GPIO_InitStruct.Speed = GPIO_SPEED_FREQ_LOW;
  GPIO_InitStruct.Alternate = GPIO_AF14_LTDC;
  HAL_GPIO_Init(GPIOH, &GPIO_InitStruct);

  /*Configure GPIO pin : PD11 */
  GPIO_InitStruct.Pin = GPIO_PIN_11;
  GPIO_InitStruct.Mode = GPIO_MODE_AF_PP;
  GPIO_InitStruct.Pull = GPIO_NOPULL;
  GPIO_InitStruct.Speed = GPIO_SPEED_FREQ_LOW;
  GPIO_InitStruct.Alternate = GPIO_AF9_QUADSPI;
  HAL_GPIO_Init(GPIOD, &GPIO_InitStruct);

  /*Configure GPIO pins : MII_RX_D3_Pin MII_RX_D2_Pin */
  GPIO_InitStruct.Pin = MII_RX_D3_Pin|MII_RX_D2_Pin;
  GPIO_InitStruct.Mode = GPIO_MODE_AF_PP;
  GPIO_InitStruct.Pull = GPIO_NOPULL;
  GPIO_InitStruct.Speed = GPIO_SPEED_FREQ_LOW;
  GPIO_InitStruct.Alternate = GPIO_AF11_ETH;
  HAL_GPIO_Init(GPIOB, &GPIO_InitStruct);

  /*Configure GPIO pin : LD1_Pin */
  GPIO_InitStruct.Pin = LD1_Pin;
  GPIO_InitStruct.Mode = GPIO_MODE_OUTPUT_PP;
  GPIO_InitStruct.Pull = GPIO_NOPULL;
  GPIO_InitStruct.Speed = GPIO_SPEED_FREQ_LOW;
  HAL_GPIO_Init(LD1_GPIO_Port, &GPIO_InitStruct);

  /*Configure GPIO pin : LCD_RST_Pin */
  GPIO_InitStruct.Pin = LCD_RST_Pin;
  GPIO_InitStruct.Mode = GPIO_MODE_OUTPUT_PP;
  GPIO_InitStruct.Pull = GPIO_NOPULL;
  GPIO_InitStruct.Speed = GPIO_SPEED_FREQ_LOW;
  HAL_GPIO_Init(LCD_RST_GPIO_Port, &GPIO_InitStruct);

  /*Configure GPIO pin : PB15 */
  GPIO_InitStruct.Pin = GPIO_PIN_15;
  GPIO_InitStruct.Mode = GPIO_MODE_AF_PP;
  GPIO_InitStruct.Pull = GPIO_NOPULL;
  GPIO_InitStruct.Speed = GPIO_SPEED_FREQ_LOW;
  GPIO_InitStruct.Alternate = GPIO_AF5_SPI2;
  HAL_GPIO_Init(GPIOB, &GPIO_InitStruct);

  /*Configure GPIO pin : PA3 */
  GPIO_InitStruct.Pin = GPIO_PIN_3;
  GPIO_InitStruct.Mode = GPIO_MODE_OUTPUT_PP;
  GPIO_InitStruct.Pull = GPIO_NOPULL;
  GPIO_InitStruct.Speed = GPIO_SPEED_FREQ_LOW;
  HAL_GPIO_Init(GPIOA, &GPIO_InitStruct);

  /*AnalogSwitch Config */
  HAL_SYSCFG_AnalogSwitchConfig(SYSCFG_SWITCH_PA0, SYSCFG_SWITCH_PA0_OPEN);

  /*AnalogSwitch Config */
  HAL_SYSCFG_AnalogSwitchConfig(SYSCFG_SWITCH_PA1, SYSCFG_SWITCH_PA1_OPEN);

}

/* USER CODE BEGIN 4 */

uint32_t decodeIRSignal()
{
    uint32_t signal = 0;

    // 16000 to skip to the last 8 bits, 200 to mesure in the 1/4 of a periode
    //  8960 to skip to the last 16 bits
    //  3680 to skip to the first bit
    delay_x(3680);

    // (3 + ) 1 strat bit, 3 field bits, 1 (2 peridos) toggle bit, 8 addres bits, 8 command bits
    // n = 22, if mesuring from first start bit
    int bit[N] = {0};

    // read signal and wait 1 period
    for (int i = 0; i < N; i++) {
    	bit[i] = HAL_GPIO_ReadPin(TSOP_PORT, TSOP_PIN);
    	delay_x(880);
	}

    // TSOP signal is inverted, so this for loop turs on bits that are low (logical 0)
    for (int i = 0; i < N; i++) {
    	if (bit[i] == 0) {
    		signal |= (1 << i);
    	}
	}

/*
 * this code was for testing, the fastest posible
 * !!! if using this code, change (31 - 0) to (0) !!!
    int bit0 = HAL_GPIO_ReadPin(TSOP_PORT, TSOP_PIN);
    delay_x(880);
    int bit1 = HAL_GPIO_ReadPin(TSOP_PORT, TSOP_PIN);
    delay_x(880);
    int bit2 = HAL_GPIO_ReadPin(TSOP_PORT, TSOP_PIN);
    delay_x(880);
    int bit3 = HAL_GPIO_ReadPin(TSOP_PORT, TSOP_PIN);
    delay_x(880);
    int bit4 = HAL_GPIO_ReadPin(TSOP_PORT, TSOP_PIN);
    delay_x(880);
    int bit5 = HAL_GPIO_ReadPin(TSOP_PORT, TSOP_PIN);
    delay_x(880);
    int bit6 = HAL_GPIO_ReadPin(TSOP_PORT, TSOP_PIN);
    delay_x(880);
    int bit7 = HAL_GPIO_ReadPin(TSOP_PORT, TSOP_PIN);
    delay_x(880);

    if (bit0 == 1) {
    	signal |= (1 << (31 - 0));
    }
    if (bit1 == 1) {
    	signal |= (1 << (31 - 1));
    }
    if (bit2 == 1) {
    	signal |= (1 << (31 - 2));
    }
    if (bit3 == 1) {
    	signal |= (1 << (31 - 3));
    }
    if (bit4 == 1) {
    	signal |= (1 << (31 - 4));
    }
    if (bit5 == 1) {
    	signal |= (1 << (31 - 5));
    }
    if (bit6 == 1) {
    	signal |= (1 << (31 - 6));
    }
    if (bit7 == 1) {
    	signal |= (1 << (31 - 7));
    }
*/

    return signal;
}

void delay_x (uint16_t x)
{
	__HAL_TIM_SET_COUNTER(&htim2,0);
	while (__HAL_TIM_GET_COUNTER(&htim2) < x);
}

void sendMessage(uint32_t message) {
	// clear buffer
	memset(SendBuffer, 0, sizeof(SendBuffer));

	strncat(SendBuffer, "Message -> start bits: ", 23);
    for (int i = 0; i < 4; i++) {
        char bit = (message & (1 << i)) ? '1' : '0';
        strncat(SendBuffer, &bit, 1);
    }

    strncat(SendBuffer, " toggle: ", 9);
    for (int i = 4; i < 6; i++) {
        char bit = (message & (1 << i)) ? '1' : '0';
        strncat(SendBuffer, &bit, 1);
    }

    strncat(SendBuffer, " address: ", 10);
    for (int i = 6; i < 14; i++) {
        char bit = (message & (1 << i)) ? '1' : '0';
        strncat(SendBuffer, &bit, 1);
    }

    strncat(SendBuffer, " command: ", 10);
    for (int i = 14; i < 22; i++) {
        char bit = (message & (1 << i)) ? '1' : '0';
        strncat(SendBuffer, &bit, 1);
    }
    strncat(SendBuffer, "\r\n", 2);
    HAL_UART_Transmit(&huart3, (uint8_t *)SendBuffer, strlen(SendBuffer), HAL_MAX_DELAY);
}

void sendBinSignal(uint32_t message, uint16_t n) {
    snprintf(SendBuffer, BUFSIZE, "IR Bin Signal: ");

    for (int i = 0; i < n; i++) {
        char bit = (message & (1 << i)) ? '1' : '0';
        strncat(SendBuffer, &bit, 1);
    }
    strncat(SendBuffer, "\r\n", 2);
    HAL_UART_Transmit(&huart3, (uint8_t *)SendBuffer, strlen(SendBuffer), HAL_MAX_DELAY);
}

void sendDecSignal(uint32_t message)
{
  sprintf(SendBuffer, "IR Dec Signal: %u\r\n", message);
  HAL_UART_Transmit(&huart3, (uint8_t*)SendBuffer, strlen(SendBuffer), HAL_MAX_DELAY);
}

/* USER CODE END 4 */

void Error_Handler(void)
{
  __disable_irq();
  while (1)
  {
  }
}
